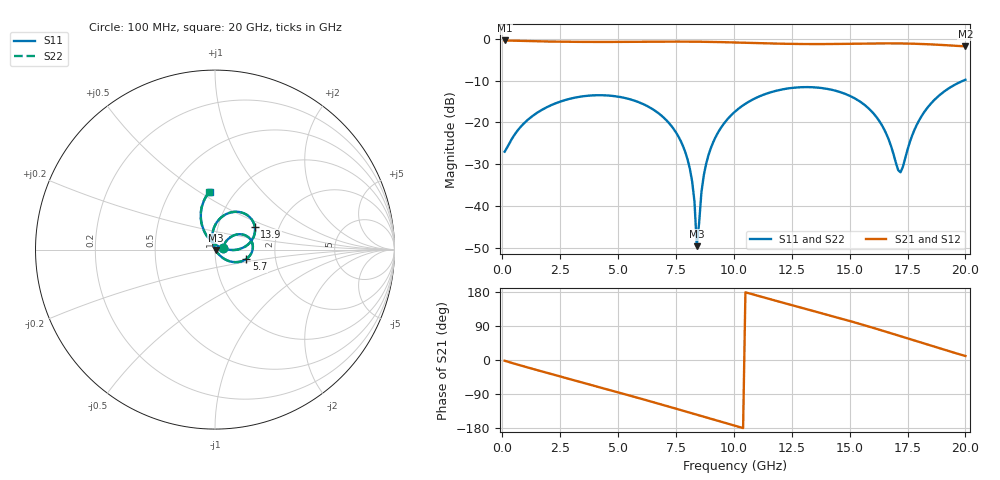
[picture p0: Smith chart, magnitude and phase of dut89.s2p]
! Touchstone file exported from HFSS 2026.1.0
!  File:  C:/ffzhzh/LocalFiles/Ansys_Project_Files/temp_train_TSV_RDL_89_1782972708_6388.aedt
!  Generated:  02:22:19 PM Jul  2, 2026
!  Design:  TSV_RDL
!  Project:  temp_train_TSV_RDL_89_1782972708_6388
! Variables:
!  h_bsmrdl = 2.45um
!  h_ox = 20um
!  h_rdl = 5um
!  h_sub = 86.75um
!  h_tmrdl = 2.33um
!  h_tsv = 86.75um
!  h_via = 3um
!  l_bsmrdl = 892.23um
!  l_sub = 5239.5um
!  l_tmrdl = 512.27um
!  m_sub = 200um
!  pitch = 30.73um
!  r_tsv = 9.33um
!  s_tmrdl = 10um
!  w_bsmrdl = 27.27um
!  w_sub = 500um
!  w_tmrdl = 10.64um
!  x_tsv_center1 = 517.59um
!  x_tsv_center2 = 1437.09um
!  x_tsv_center3 = 1960um
!  x_tsv_center4 = 2879.5um
!  x_tsv_center5 = 3402.41um
!  x_tsv_center6 = 4321.91um
# GHz S MA R 50.000000
! Terminal data exported
! Port[1] = TM_RDL1_1_T1
! Port[2] = TM_RDL5_1_T1
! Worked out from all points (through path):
!   200 points, 100 MHz to 20 GHz, reference 50 ohm
!   highest |S21| = -0.39 dB at 100 MHz (marker M1); lowest = -1.8 dB at 20 GHz (marker M2)
!   group delay of S21, straight-line fit = 48.1 ps
!   lowest |S11| = -49.6 dB at 8.4 GHz (marker M3), VSWR 1.01, Z = 50.3 - j0.133 ohm
!   |S11| at or under -10 dB: start of sweep to 19.91 GHz
!   |S22| runs from -49.5 to -9.8 dB; largest |S21 - S12| = 2.1e-14
!   S11 on the Smith chart (normalised r, x): 100 MHz: 1.09, +0.02; 5.7 GHz: 1.42, -0.15; 13.9 GHz: 1.50, +0.41; 20 GHz: 0.77, +0.55
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0.1  0.0447 12.5  0.9566 -1.9  0.9566 -1.9  0.0447 12.5
! Gamma 0 0 0 0
! Port Impedance 50 0 50 0
1.4  0.1248 37.7  0.9351 -24.9  0.9351 -24.9  0.1248 37.7
3.5  0.2058 15.7  0.9193 -60.2  0.9193 -60.2  0.2058 15.7
5.7  0.1826 -16.4  0.9213 -97.2  0.9213 -97.2  0.1827 -16.4
6.8  0.1255 -33.7  0.9259 -116.2  0.9259 -116.2  0.1255 -33.7
7.5  0.07606 -44.6  0.9271 -128.5  0.9271 -128.5  0.07605 -44.6
8  0.03625 -51.3  0.9263 -137.3  0.9263 -137.3  0.03624 -51.2
8.3  0.0113 -49.3  0.9249 -142.6  0.9249 -142.6  0.01129 -48.8
8.4  0.003315 -23.6  0.9244 -144.4  0.9244 -144.4  0.00335 -22.1
8.6  0.01462 107.3  0.923 -148.0  0.923 -148.0  0.01467 106.9
8.9  0.0403 107.3  0.9203 -153.3  0.9203 -153.3  0.04035 107.2
9.4  0.08272 100.4  0.9146 -162.2  0.9146 -162.2  0.08277 100.3
10.1  0.1386 89.3  0.9043 -174.4  0.9043 -174.4  0.1387 89.1
11.6  0.2299 65.3  0.8804 160.0  0.8804 160.0  0.2301 65.2
13.4  0.2637 37.5  0.8658 130.1  0.8658 130.1  0.2639 37.4
13.9  0.2556 30.0  0.8663 121.8  0.8663 121.8  0.2558 29.8
15.7  0.1576 4.2  0.8785 90.6  0.8785 90.6  0.1578 3.8
16.7  0.06124 1.9  0.8827 72.2  0.8827 72.2  0.06109 0.7
17.2  0.02537 65.3  0.8808 62.8  0.8808 62.8  0.02411 64.8
17.7  0.06972 118.5  0.8753 53.2  0.8753 53.2  0.06894 119.3
18.2  0.1304 119.6  0.8661 43.7  0.8661 43.7  0.1298 120.1
20  0.3239 95.3  0.8124 10.6  0.8124 10.6  0.3235 95.5
